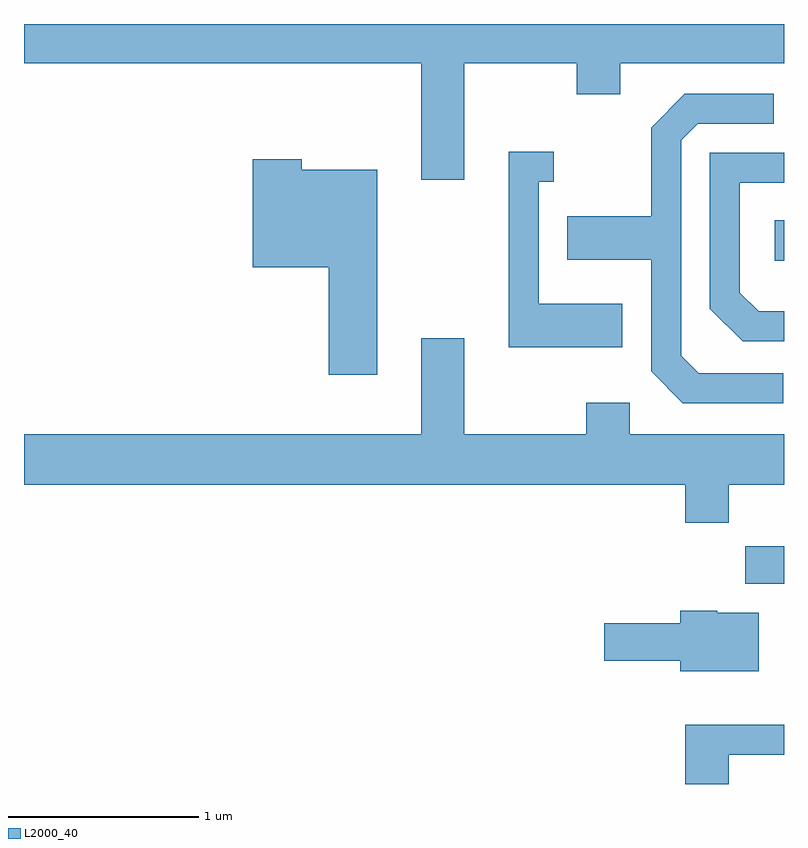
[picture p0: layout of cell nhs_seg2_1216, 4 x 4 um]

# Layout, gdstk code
import gdstk
lib = gdstk.Library(unit=1e-6, precision=1e-09)
def R(c, l, rs):  # rectangles x0, y0, x1, y1
    for r in rs: c.add(gdstk.rectangle(r[:2], r[2:], *l))
def P(c, l, *ps):  # polygons
    for p in ps: c.add(gdstk.Polygon(p, *l))
L2000_40 = (2000, 40)

nhs_seg2_1216 = lib.new_cell('nhs_seg2_1216')
R(nhs_seg2_1216, L2000_40, [(223.406,1098.856,223.611,1099.054), (223.561,1100.556,223.611,1100.769)])
P(nhs_seg2_1216, L2000_40, [(221.929,1101.596),(222.521,1101.596),(222.521,1101.431),(222.749,1101.431),(222.749,1101.596),(223.611,1101.596),(223.611,1101.802),(219.611,1101.802),(219.611,1101.596),(221.701,1101.596),(221.701,1100.981),(221.929,1100.981)],
  [(223.608,1099.964),(223.162,1099.964),(223.069,1100.057),(223.069,1101.189),(223.157,1101.276),(223.558,1101.276),(223.558,1101.434),(223.089,1101.434),(222.911,1101.257),(222.911,1100.789),(222.471,1100.789),(222.471,1100.561),(222.911,1100.561),(222.911,1099.974),(223.079,1099.806),(223.608,1099.806)],
  [(222.759,1100.329),(222.319,1100.329),(222.319,1100.971),(222.398,1100.971),(222.398,1101.129),(222.161,1101.129),(222.161,1100.101),(222.759,1100.101)],
  [(223.611,1100.289),(223.477,1100.289),(223.379,1100.387),(223.379,1100.966),(223.611,1100.966),(223.611,1101.124),(223.221,1101.124),(223.221,1100.304),(223.394,1100.131),(223.611,1100.131)],
  [(221.469,1101.034),(221.074,1101.034),(221.074,1101.089),(220.816,1101.089),(220.816,1100.521),(221.216,1100.521),(221.216,1099.956),(221.469,1099.956)],
  [(223.319,1099.376),(223.611,1099.376),(223.611,1099.644),(222.799,1099.644),(222.799,1099.809),(222.571,1099.809),(222.571,1099.644),(221.929,1099.644),(221.929,1100.149),(221.701,1100.149),(221.701,1099.644),(219.611,1099.644),(219.611,1099.376),(223.091,1099.376),(223.091,1099.176),(223.319,1099.176)],
  [(223.479,1098.704),(223.26,1098.704),(223.26,1098.714),(223.066,1098.714),(223.066,1098.649),(222.666,1098.649),(222.666,1098.451),(223.066,1098.451),(223.066,1098.396),(223.479,1098.396)],
  [(223.319,1097.956),(223.611,1097.956),(223.611,1098.114),(223.091,1098.114),(223.091,1097.802),(223.319,1097.802)])

lib.write_gds('nhs_seg2_1216.gds')
